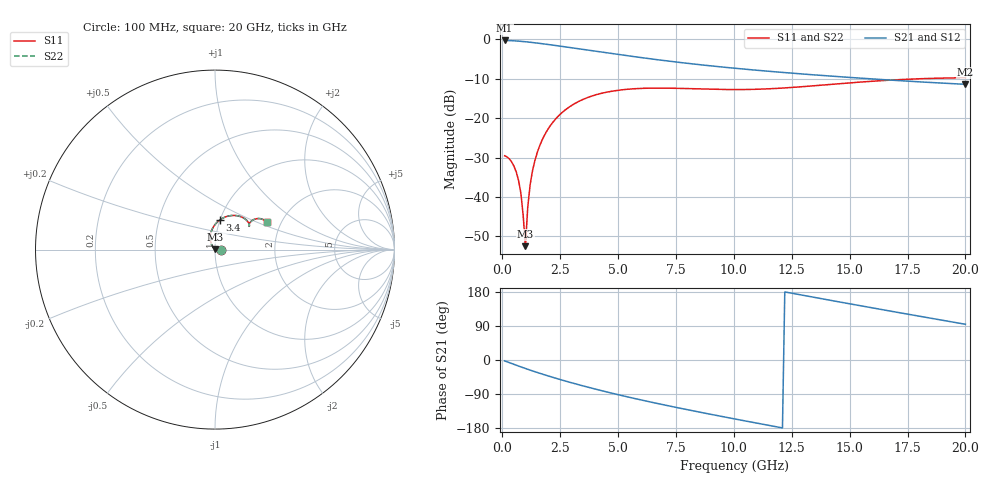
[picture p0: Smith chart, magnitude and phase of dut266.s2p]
! Created with skrf 1.9.0 (http://scikit-rf.org).
# GHz S RI R 50.0
!freq ReS11 ImS11 ReS21 ImS21 ReS12 ImS12 ReS22 ImS22
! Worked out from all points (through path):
!   200 points, 100 MHz to 20 GHz, reference 50 ohm
!   highest |S21| = -0.30 dB at 100 MHz (marker M1); lowest = -11.4 dB at 20 GHz (marker M2)
!   group delay of S21, straight-line fit = 34.9 ps
!   lowest |S11| = -52.5 dB at 1 GHz (marker M3), VSWR 1.00, Z = 50.1 + j0.22 ohm
!   |S11| at or under -10 dB: start of sweep to 18.1 GHz
!   |S22| runs from -52.5 to -9.8 dB; largest |S21 - S12| = 2.5e-15
!   S11 on the Smith chart (normalised r, x): 100 MHz: 1.07, -0.00; 3.4 GHz: 1.00, +0.34; 20 GHz: 1.68, +0.57
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0.1  0.0333 -0.00153  0.9651 -0.0393  0.9651 -0.0393  0.0333 -0.00153
0.4  0.0273 -0.00597  0.9474 -0.1534  0.9474 -0.1534  0.0273 -0.00597
0.6  0.0198 -0.00632  0.9251 -0.2256  0.9251 -0.2256  0.0198 -0.00632
0.7  0.0154 -0.00542  0.9111 -0.26  0.9111 -0.26  0.0154 -0.00542
0.8  0.0107 -0.00371  0.8955 -0.2931  0.8955 -0.2931  0.0107 -0.00371
0.9  0.00579 -0.00117  0.8784 -0.3248  0.8784 -0.3248  0.00579 -0.00117
1  0.000906 0.00219  0.86 -0.3552  0.86 -0.3552  0.000906 0.00219
1.1  -0.00385 0.00637  0.8404 -0.384  0.8404 -0.384  -0.00385 0.00637
1.2  -0.00837 0.0113  0.8198 -0.4114  0.8198 -0.4114  -0.00837 0.0113
1.4  -0.0163 0.0233  0.7761 -0.4616  0.7761 -0.4616  -0.0163 0.0233
1.6  -0.0221 0.0374  0.7299 -0.506  0.7299 -0.506  -0.0221 0.0374
1.9  -0.0262 0.0613  0.6575 -0.5622  0.6575 -0.5622  -0.0262 0.0613
2.3  -0.0226 0.0946  0.5585 -0.6193  0.5585 -0.6193  -0.0226 0.0946
3.4  0.0277 0.1659  0.2945 -0.6904  0.2945 -0.6904  0.0277 0.1659
3.5  0.0339 0.17  0.272 -0.6918  0.272 -0.6918  0.0339 0.17
5.1  0.1278 0.188  -0.0329 -0.6357  -0.0329 -0.6357  0.1278 0.188
6.8  0.1806 0.1587  -0.24 -0.4901  -0.24 -0.4901  0.1806 0.1587
8.4  0.1919 0.1352  -0.3461 -0.333  -0.3461 -0.333  0.1919 0.1352
10.1  0.1893 0.1305  -0.3912 -0.1719  -0.3912 -0.1719  0.1893 0.1305
13.4  0.2018 0.1579  -0.3443 0.0852  -0.3443 0.0852  0.2018 0.1579
16.7  0.2484 0.1729  -0.1943 0.2341  -0.1943 0.2341  0.2484 0.1729
20  0.287 0.1517  -0.0201 0.2676  -0.0201 0.2676  0.287 0.1517
